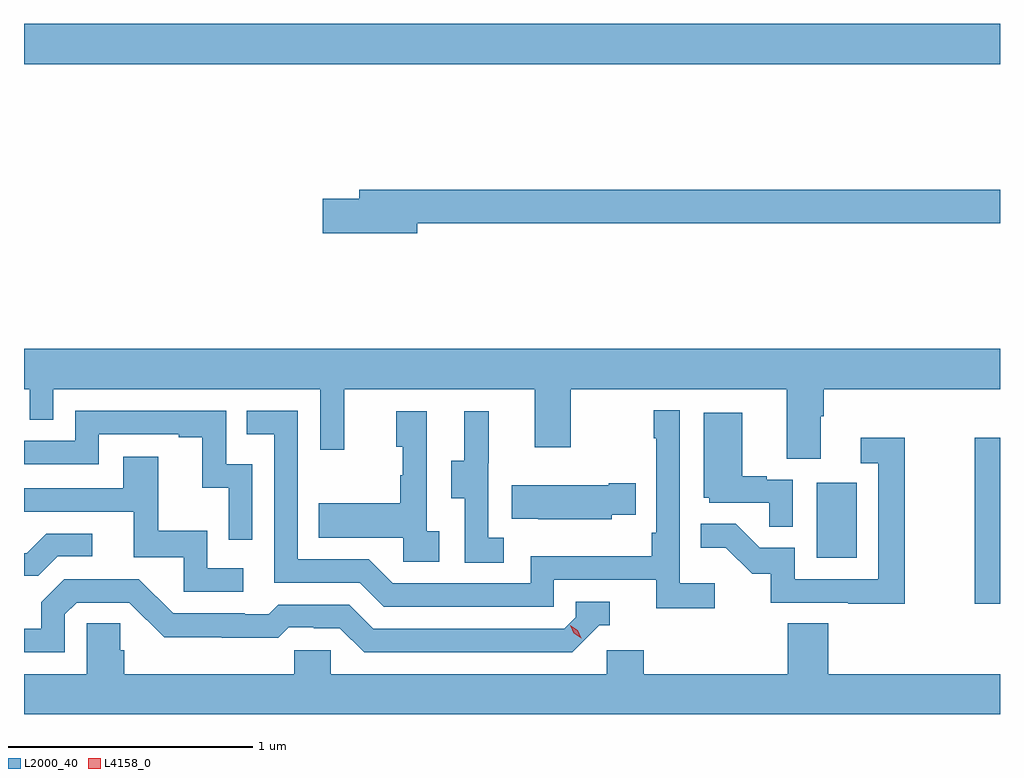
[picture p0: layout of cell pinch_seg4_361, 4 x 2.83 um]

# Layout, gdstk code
import gdstk
lib = gdstk.Library(unit=1e-6, precision=1e-09)
def R(c, l, rs):  # rectangles x0, y0, x1, y1
    for r in rs: c.add(gdstk.rectangle(r[:2], r[2:], *l))
def P(c, l, *ps):  # polygons
    for p in ps: c.add(gdstk.Polygon(p, *l))
L2000_40 = (2000, 40)
L4158_0 = (4158, 0)

pinch_seg4_361 = lib.new_cell('pinch_seg4_361')
R(pinch_seg4_361, L2000_40, [(972.981,805.264,973.084,805.945), (972.332,805.452,972.496,805.759), (969.084,807.476,973.084,807.64)])
P(pinch_seg4_361, L2000_40, [(970.696,806.824),(973.084,806.824),(973.084,806.96),(970.457,806.96),(970.457,806.924),(970.308,806.924),(970.308,806.782),(970.696,806.782)],
  [(972.349,806.032),(972.362,806.032),(972.362,806.144),(973.084,806.144),(973.084,806.308),(969.084,806.308),(969.084,806.144),(969.108,806.144),(969.108,806.017),(969.204,806.017),(969.204,806.144),(970.299,806.144),(970.299,805.896),(970.397,805.896),(970.397,806.144),(971.177,806.144),(971.177,805.905),(971.325,805.905),(971.325,806.144),(972.209,806.144),(972.209,805.858),(972.349,805.858)],
  [(971.914,805.348),(971.772,805.348),(971.772,806.056),(971.664,806.056),(971.664,805.943),(971.676,805.943),(971.676,805.555),(971.656,805.555),(971.656,805.459),(971.16,805.459),(971.16,805.347),(970.596,805.347),(970.497,805.446),(970.206,805.446),(970.206,806.055),(969.997,806.055),(969.997,805.959),(970.11,805.959),(970.11,805.35),(970.46,805.35),(970.559,805.251),(971.256,805.251),(971.256,805.362),(971.675,805.362),(971.675,805.246),(971.914,805.246)],
  [(970.02,805.836),(969.912,805.836),(969.912,806.055),(969.294,806.055),(969.294,805.932),(969.084,805.932),(969.084,805.836),(969.39,805.836),(969.39,805.959),(969.719,805.959),(969.719,805.947),(969.815,805.947),(969.815,805.739),(969.924,805.739),(969.924,805.527),(970.02,805.527)],
  [(971.05,805.535),(970.986,805.535),(970.986,805.839),(970.988,805.839),(970.988,806.053),(970.889,806.053),(970.889,805.851),(970.835,805.851),(970.835,805.696),(970.89,805.696),(970.89,805.432),(971.05,805.432)],
  [(970.786,805.562),(970.734,805.562),(970.734,806.053),(970.61,806.053),(970.61,805.908),(970.636,805.908),(970.636,805.79),(970.626,805.79),(970.626,805.675),(970.291,805.675),(970.291,805.535),(970.638,805.535),(970.638,805.437),(970.786,805.437)],
  [(972.234,805.773),(972.128,805.773),(972.128,805.786),(972.028,805.786),(972.028,806.047),(971.87,806.047),(971.87,805.698),(971.892,805.698),(971.892,805.677),(972.139,805.677),(972.139,805.579),(972.234,805.579)],
  [(972.694,805.945),(972.513,805.945),(972.513,805.839),(972.585,805.839),(972.585,805.365),(972.243,805.365),(972.243,805.494),(972.099,805.494),(972.001,805.592),(971.857,805.592),(971.857,805.493),(971.961,805.493),(972.068,805.386),(972.145,805.386),(972.145,805.269),(972.463,805.269),(972.463,805.264),(972.694,805.264)],
  [(969.982,805.41),(969.834,805.41),(969.834,805.564),(969.635,805.564),(969.635,805.867),(969.491,805.867),(969.491,805.737),(969.084,805.737),(969.084,805.641),(969.533,805.641),(969.533,805.455),(969.738,805.455),(969.738,805.314),(969.982,805.314)],
  [(971.493,805.628),(971.591,805.628),(971.591,805.758),(971.48,805.758),(971.48,805.75),(971.083,805.75),(971.083,805.613),(971.191,805.613),(971.191,805.61),(971.493,805.61)],
  [(969.222,805.458),(969.364,805.458),(969.364,805.551),(969.176,805.551),(969.095,805.47),(969.084,805.47),(969.084,805.378),(969.142,805.378)],
  [(969.252,805.221),(969.3,805.269),(969.516,805.269),(969.658,805.127),(969.894,805.127),(969.894,805.125),(970.127,805.125),(970.169,805.167),(970.272,805.167),(970.272,805.164),(970.379,805.164),(970.478,805.065),(971.331,805.065),(971.442,805.176),(971.485,805.176),(971.485,805.272),(971.346,805.272),(971.346,805.209),(971.298,805.161),(970.515,805.161),(970.416,805.26),(970.127,805.26),(970.088,805.221),(969.989,805.221),(969.989,805.224),(969.696,805.224),(969.555,805.365),(969.249,805.365),(969.155,805.271),(969.155,805.161),(969.084,805.161),(969.084,805.065),(969.252,805.065)],
  [(971.472,805.074),(971.472,804.976),(970.341,804.976),(970.341,805.074),(970.191,805.074),(970.191,804.976),(969.494,804.976),(969.494,805.074),(969.479,805.074),(969.479,805.184),(969.342,805.184),(969.342,804.976),(969.084,804.976),(969.084,804.812),(973.084,804.812),(973.084,804.976),(972.38,804.976),(972.38,805.184),(972.215,805.184),(972.215,804.976),(971.624,804.976),(971.624,805.074)])
P(pinch_seg4_361, L4158_0, [(971.368,805.122),(971.338,805.142),(971.322,805.175),(971.322,805.175),(971.322,805.175),(971.353,805.155),(971.368,805.122),(971.368,805.122)])

lib.write_gds('pinch_seg4_361.gds')
